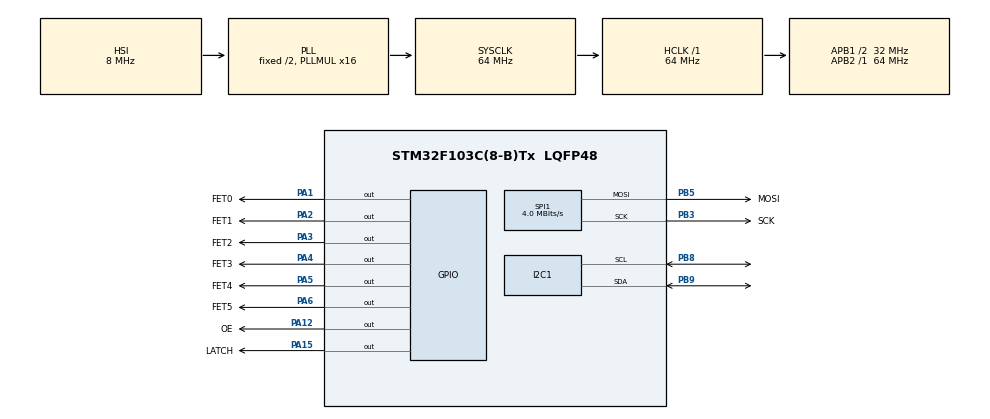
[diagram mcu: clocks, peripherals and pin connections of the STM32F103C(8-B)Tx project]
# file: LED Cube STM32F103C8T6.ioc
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I2C1.DualAddressMode=I2C_DUALADDRESS_DISABLE
I2C1.OwnAddress=0x2A
Mcu.Family=STM32F1
Mcu.Name=STM32F103C(8-B)Tx
Mcu.Package=LQFP48
NVIC.I2C1_ER_IRQn=true\:0\:0\:false\:false\:true\:true\:true\:true
NVIC.I2C1_EV_IRQn=true\:0\:0\:false\:false\:true\:true\:true\:true
NVIC.PriorityGroup=NVIC_PRIORITYGROUP_4
PA1.GPIO_Label=FET0
PA1.GPIO_Speed=GPIO_SPEED_FREQ_HIGH
PA1.PinState=GPIO_PIN_SET
PA1.Signal=GPIO_Output
PA12.GPIO_Label=OE
PA12.GPIO_Speed=GPIO_SPEED_FREQ_MEDIUM
PA12.PinState=GPIO_PIN_SET
PA12.Signal=GPIO_Output
PA13.Mode=Serial_Wire
PA13.Signal=SYS_JTMS-SWDIO
PA14.Mode=Serial_Wire
PA14.Signal=SYS_JTCK-SWCLK
PA15.GPIO_Label=LATCH
PA15.GPIO_Speed=GPIO_SPEED_FREQ_MEDIUM
PA15.PinState=GPIO_PIN_RESET
PA15.Signal=GPIO_Output
PA2.GPIO_Label=FET1
PA2.GPIO_Speed=GPIO_SPEED_FREQ_HIGH
PA2.PinState=GPIO_PIN_SET
PA2.Signal=GPIO_Output
PA3.GPIO_Label=FET2
PA3.GPIO_Speed=GPIO_SPEED_FREQ_HIGH
PA3.PinState=GPIO_PIN_SET
PA3.Signal=GPIO_Output
PA4.GPIO_Label=FET3
PA4.GPIO_Speed=GPIO_SPEED_FREQ_HIGH
PA4.PinState=GPIO_PIN_SET
PA4.Signal=GPIO_Output
PA5.GPIO_Label=FET4
PA5.GPIO_Speed=GPIO_SPEED_FREQ_HIGH
PA5.PinState=GPIO_PIN_SET
PA5.Signal=GPIO_Output
PA6.GPIO_Label=FET5
PA6.GPIO_Speed=GPIO_SPEED_FREQ_HIGH
PA6.PinState=GPIO_PIN_SET
PA6.Signal=GPIO_Output
PB3.GPIO_Label=SCK
PB3.Mode=TX_Only_Simplex_Unidirect_Master
PB3.Signal=SPI1_SCK
PB5.GPIO_Label=MOSI
PB5.Mode=TX_Only_Simplex_Unidirect_Master
PB5.Signal=SPI1_MOSI
PB8.Mode=I2C
PB8.Signal=I2C1_SCL
PB9.Mode=I2C
PB9.Signal=I2C1_SDA
ProjectManager.HeapSize=0x200
ProjectManager.StackSize=0x400
ProjectManager.TargetToolchain=STM32CubeIDE
RCC.AHBFreq_Value=64000000
RCC.APB1CLKDivider=RCC_HCLK_DIV2
RCC.APB1Freq_Value=32000000
RCC.APB1TimFreq_Value=64000000
RCC.APB2Freq_Value=64000000
RCC.APB2TimFreq_Value=64000000
RCC.HCLKFreq_Value=64000000
RCC.PLLMUL=RCC_PLL_MUL16
RCC.SYSCLKFreq_VALUE=64000000
RCC.SYSCLKSource=RCC_SYSCLKSOURCE_PLLCLK
RCC.USBFreq_Value=64000000
SPI1.BaudRatePrescaler=SPI_BAUDRATEPRESCALER_16
SPI1.CalculateBaudRate=4.0 MBits/s
SPI1.Direction=SPI_DIRECTION_2LINES
SPI1.Mode=SPI_MODE_MASTER
SPI1.VirtualType=VM_MASTER
TIM2.AutoReloadPreload=TIM_AUTORELOAD_PRELOAD_DISABLE
TIM2.Prescaler=72-1
TIM2.TIM_MasterOutputTrigger=TIM_TRGO_UPDATE
VP_TIM2_VS_ClockSourceINT.Mode=Internal
board=custom

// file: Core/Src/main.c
/* USER CODE BEGIN Header */
/*
  LƯU Y: HỆ TRỤC TỌA DỘ CỦA LED CUBE DƯỢC DẶT TẠI GOC DƯỚI PHẢI, GẦN PHIA NGƯỜI XEM (Dặt POV ở nguoi xem cục LED Cube)

  LED Cube ở đây
          X        Z
            \      |
              \    |
                \  |
          Y ______\|
              Nguoi xem đứng ở đây (chìa tay phải ra là hiểu)

  SỬ DỤNG QUY TẮC BÀN TAY PHẢI (chỉa 3 ngón vuông góc với nhau: ngón cái, ngón tro, ngón giữa)
  -> NGÓN CAI: trục Z, NGÓN TRỎ: trục X, NGÓN GIỮA: trục Y
  => Trục X là vị trí của dãy led ngang (đếm từ gần ra xa)
  => Trục Y là vị trí của dãy led doc (đếm trừ phải sang trái)
  => Trục Z là mặt phẳng LED (đếm từ dưới lên trên)
*/
/* USER CODE END Header */
#include "main.h"

/* USER CODE BEGIN Includes */
#include "game_mechanics.h"
#include "font.h"
#include <stdio.h>
/* USER CODE END Includes */

 I2C_HandleTypeDef hi2c1;

SPI_HandleTypeDef hspi1;

TIM_HandleTypeDef htim2;

void SystemClock_Config(void);
static void MX_GPIO_Init(void);
static void MX_SPI1_Init(void);
static void MX_TIM2_Init(void);
static void MX_I2C1_Init(void);

/* USER CODE BEGIN PFP */
uint16_t count = 0;

/* I2C callbacks (already present in project, kept here for completeness) */
void HAL_I2C_ListenCpltCallback(I2C_HandleTypeDef *hi2c) {
	HAL_I2C_EnableListen_IT(hi2c);
}

void HAL_I2C_AddrCallback(I2C_HandleTypeDef *hi2c, uint8_t TransferDirection, uint16_t AddrMatchCode) {
	if (TransferDirection == I2C_DIRECTION_TRANSMIT) {
		/* Expect exactly 3 bytes (gameStart, effectIdle, bufferDir) */
		HAL_I2C_Slave_Sequential_Receive_IT(hi2c, i2c_rx_buf, 8, I2C_FIRST_AND_LAST_FRAME);
	}
	else {
		Error_Handler();
	}
}

void HAL_I2C_SlaveRxCpltCallback(I2C_HandleTypeDef *hi2c) {
	count++;
	/* Re-arm listen mode */
	HAL_I2C_EnableListen_IT(hi2c);
}

void HAL_I2C_ErrorCallback(I2C_HandleTypeDef *hi2c)
{
	HAL_I2C_EnableListen_IT(hi2c);
}
/* USER CODE END PFP */

int main(void)
{
  /* USER CODE BEGIN 1 */
  memset((void*)i2c_rx_buf, 0, sizeof(i2c_rx_buf));
  /* USER CODE END 1 */

  /* MCU Configuration--------------------------------------------------------*/

  /* Reset of all peripherals, Initializes the Flash interface and the Systick. */
  HAL_Init();

  /* Configure the system clock */
  SystemClock_Config();

  /* Initialize all configured peripherals */
  MX_GPIO_Init();
  MX_SPI1_Init();
  MX_TIM2_Init();
  MX_I2C1_Init();
  /* USER CODE BEGIN 2 */
  HAL_TIM_Base_Start(&htim2);

  if (HAL_I2C_EnableListen_IT(&hi2c1) != HAL_OK)
	  Error_Handler();

  /* Initialize game systems */
  gameSetup();
  uint16_t last_i2c_count = 0;
  /* USER CODE END 2 */

  /* Infinite loop */
  /* USER CODE BEGIN WHILE */
  while (1)
  {
	  /* ---- INPUT (ESP32 millis-gated equivalent) ---- */
	  if (count != last_i2c_count) {
		  last_i2c_count = count;
		  getInput();
	  }

	  // Idle mode
	  if (fireworks.effectFlag) {
		  SPIControlHub(fireworksCanvas);

		  if (fireworks.effectIdx == CLEAR)
			  fireworks.effectFlag = false;

		  if ((uwTick - fireworksCounter.time) >= fireworksCounter.interval) {
			  showFireworks();
			  fireworksCounter.time = uwTick;
		  }

		  if (fireworks.effectFinished) {
			  fireworks.effectFinished = false;

			  if (fireworks.effectIdle) {
				  fireworks.effectIdx++;
				  if (fireworks.effectIdx >= CLEAR)
					  fireworks.effectIdx = NORMAL;
			  }
		  }
	  }

	  // Pre-game
	  if (!gameStart && !gameOver) {
	  }

	  // In game
	  else if (gameStart && !gameOver) {
		  SPIControlHub(gameCanvas);

		  if ((uwTick - game.time) >= game.interval) {
			  clearSnake();
			  updateGameState();
			  renderSnake();
			  game.time = uwTick;
		  }

		  if ((uwTick - foodCounter.time) >= foodCounter.interval) {
			  renderFood();
			  foodCounter.time = uwTick;
		  }
	  }

	  // Game Over and Fireworks
	  else if (gameStart && gameOver && !fireworks.resetGameFlag) {

		  if (bodySize >= 6 && !fireworks.start) {
			  fireworks.effectIdx = 0;
			  fireworks.start = true;
		  }

		  if (fireworks.start) {
			  SPIControlHub(fireworksCanvas);

			  if ((uwTick - fireworksCounter.time) >= fireworksCounter.interval) {
				  showFireworks();
				  fireworksCounter.time = uwTick;
			  }

			  if (fireworks.effectFinished) {
				  fireworks.start = false;
				  fireworks.effectFinished = false;
				  fireworks.resetGameFlag = true;
				  gameStart = false;
			  }
		  }
		  else {
			  fireworks.effectFinished = false;
			  fireworks.resetGameFlag = true;
			  gameStart = false;
		  }
	  }

	  // Restart game *Once*
	  else if (gameOver && fireworks.resetGameFlag) {

		  if (!fireworks.effectFlag)
			  SPIControlHub(gameCanvas);

		  if (gameStart) {
			  gameSetup();
			  fireworks.resetGameFlag = false;
			  gameOver = false;
		  }
	  }
  }
    /* USER CODE END WHILE */
}

void SystemClock_Config(void)
{
  RCC_OscInitTypeDef RCC_OscInitStruct = {0};
  RCC_ClkInitTypeDef RCC_ClkInitStruct = {0};

  /** Initializes the RCC Oscillators according to the specified parameters
  * in the RCC_OscInitTypeDef structure.
  */
  RCC_OscInitStruct.OscillatorType = RCC_OSCILLATORTYPE_HSI;
  RCC_OscInitStruct.HSIState = RCC_HSI_ON;
  RCC_OscInitStruct.HSICalibrationValue = RCC_HSICALIBRATION_DEFAULT;
  RCC_OscInitStruct.PLL.PLLState = RCC_PLL_ON;
  RCC_OscInitStruct.PLL.PLLSource = RCC_PLLSOURCE_HSI_DIV2;
  RCC_OscInitStruct.PLL.PLLMUL = RCC_PLL_MUL16;
  if (HAL_RCC_OscConfig(&RCC_OscInitStruct) != HAL_OK)
  {
    Error_Handler();
  }

  /** Initializes the CPU, AHB and APB buses clocks
  */
  RCC_ClkInitStruct.ClockType = RCC_CLOCKTYPE_HCLK|RCC_CLOCKTYPE_SYSCLK
                              |RCC_CLOCKTYPE_PCLK1|RCC_CLOCKTYPE_PCLK2;
  RCC_ClkInitStruct.SYSCLKSource = RCC_SYSCLKSOURCE_PLLCLK;
  RCC_ClkInitStruct.AHBCLKDivider = RCC_SYSCLK_DIV1;
  RCC_ClkInitStruct.APB1CLKDivider = RCC_HCLK_DIV2;
  RCC_ClkInitStruct.APB2CLKDivider = RCC_HCLK_DIV1;

  if (HAL_RCC_ClockConfig(&RCC_ClkInitStruct, FLASH_LATENCY_2) != HAL_OK)
  {
    Error_Handler();
  }
}

static void MX_I2C1_Init(void)
{

  hi2c1.Instance = I2C1;
  hi2c1.Init.ClockSpeed = 100000;
  hi2c1.Init.DutyCycle = I2C_DUTYCYCLE_2;
  hi2c1.Init.OwnAddress1 = 84;
  hi2c1.Init.AddressingMode = I2C_ADDRESSINGMODE_7BIT;
  hi2c1.Init.DualAddressMode = I2C_DUALADDRESS_DISABLE;
  hi2c1.Init.OwnAddress2 = 0;
  hi2c1.Init.GeneralCallMode = I2C_GENERALCALL_DISABLE;
  hi2c1.Init.NoStretchMode = I2C_NOSTRETCH_DISABLE;
  if (HAL_I2C_Init(&hi2c1) != HAL_OK)
  {
    Error_Handler();
  }

}

static void MX_SPI1_Init(void)
{

  /* SPI1 parameter configuration*/
  hspi1.Instance = SPI1;
  hspi1.Init.Mode = SPI_MODE_MASTER;
  hspi1.Init.Direction = SPI_DIRECTION_2LINES;
  hspi1.Init.DataSize = SPI_DATASIZE_8BIT;
  hspi1.Init.CLKPolarity = SPI_POLARITY_LOW;
  hspi1.Init.CLKPhase = SPI_PHASE_1EDGE;
  hspi1.Init.NSS = SPI_NSS_SOFT;
  hspi1.Init.BaudRatePrescaler = SPI_BAUDRATEPRESCALER_16;
  hspi1.Init.FirstBit = SPI_FIRSTBIT_MSB;
  hspi1.Init.TIMode = SPI_TIMODE_DISABLE;
  hspi1.Init.CRCCalculation = SPI_CRCCALCULATION_DISABLE;
  hspi1.Init.CRCPolynomial = 10;
  if (HAL_SPI_Init(&hspi1) != HAL_OK)
  {
    Error_Handler();
  }

}

static void MX_TIM2_Init(void)
{

  TIM_ClockConfigTypeDef sClockSourceConfig = {0};
  TIM_MasterConfigTypeDef sMasterConfig = {0};

  htim2.Instance = TIM2;
  htim2.Init.Prescaler = 72-1;
  htim2.Init.CounterMode = TIM_COUNTERMODE_UP;
  htim2.Init.Period = 65535;
  htim2.Init.ClockDivision = TIM_CLOCKDIVISION_DIV1;
  htim2.Init.AutoReloadPreload = TIM_AUTORELOAD_PRELOAD_DISABLE;
  if (HAL_TIM_Base_Init(&htim2) != HAL_OK)
  {
    Error_Handler();
  }
  sClockSourceConfig.ClockSource = TIM_CLOCKSOURCE_INTERNAL;
  if (HAL_TIM_ConfigClockSource(&htim2, &sClockSourceConfig) != HAL_OK)
  {
    Error_Handler();
  }
  sMasterConfig.MasterOutputTrigger = TIM_TRGO_UPDATE;
  sMasterConfig.MasterSlaveMode = TIM_MASTERSLAVEMODE_DISABLE;
  if (HAL_TIMEx_MasterConfigSynchronization(&htim2, &sMasterConfig) != HAL_OK)
  {
    Error_Handler();
  }

}

static void MX_GPIO_Init(void)
{
  GPIO_InitTypeDef GPIO_InitStruct = {0};

  /* GPIO Ports Clock Enable */
  __HAL_RCC_GPIOA_CLK_ENABLE();
  __HAL_RCC_GPIOB_CLK_ENABLE();

  /*Configure GPIO pin Output Level */
  HAL_GPIO_WritePin(GPIOA, FET0_Pin|FET1_Pin|FET2_Pin|FET3_Pin
                          |FET4_Pin|FET5_Pin|OE_Pin, GPIO_PIN_SET);

  /*Configure GPIO pin Output Level */
  HAL_GPIO_WritePin(LATCH_GPIO_Port, LATCH_Pin, GPIO_PIN_RESET);

  /*Configure GPIO pins : FET0_Pin FET1_Pin FET2_Pin FET3_Pin
                           FET4_Pin FET5_Pin */
  GPIO_InitStruct.Pin = FET0_Pin|FET1_Pin|FET2_Pin|FET3_Pin
                          |FET4_Pin|FET5_Pin;
  GPIO_InitStruct.Mode = GPIO_MODE_OUTPUT_PP;
  GPIO_InitStruct.Pull = GPIO_NOPULL;
  GPIO_InitStruct.Speed = GPIO_SPEED_FREQ_HIGH;
  HAL_GPIO_Init(GPIOA, &GPIO_InitStruct);

  /*Configure GPIO pins : OE_Pin LATCH_Pin */
  GPIO_InitStruct.Pin = OE_Pin|LATCH_Pin;
  GPIO_InitStruct.Mode = GPIO_MODE_OUTPUT_PP;
  GPIO_InitStruct.Pull = GPIO_NOPULL;
  GPIO_InitStruct.Speed = GPIO_SPEED_FREQ_MEDIUM;
  HAL_GPIO_Init(GPIOA, &GPIO_InitStruct);

}

void Error_Handler(void)
{
  __disable_irq();
  while (1)
  {
  }
}
